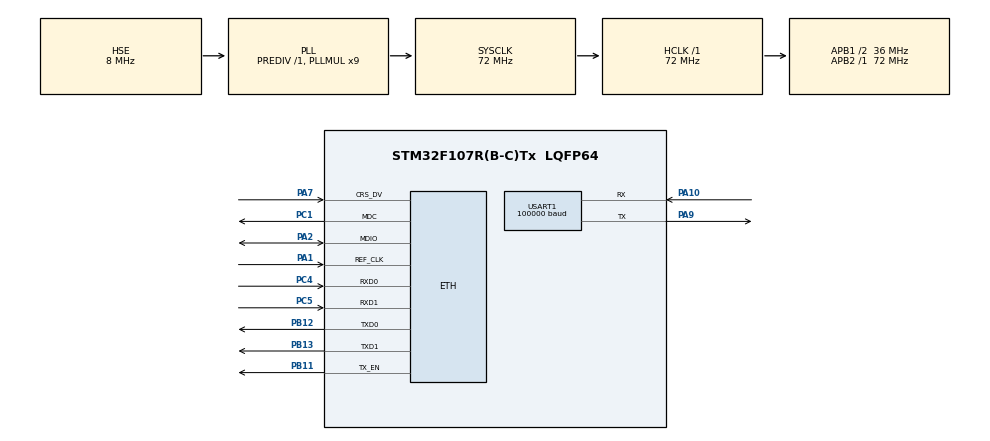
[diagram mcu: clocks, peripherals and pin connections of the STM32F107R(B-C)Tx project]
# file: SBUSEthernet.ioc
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Dma.Request0=USART1_TX
Dma.USART1_TX.0.Direction=DMA_MEMORY_TO_PERIPH
Dma.USART1_TX.0.Instance=DMA1_Channel4
Dma.USART1_TX.0.MemDataAlignment=DMA_MDATAALIGN_BYTE
Dma.USART1_TX.0.MemInc=DMA_MINC_ENABLE
Dma.USART1_TX.0.Mode=DMA_NORMAL
Dma.USART1_TX.0.PeriphDataAlignment=DMA_PDATAALIGN_BYTE
Dma.USART1_TX.0.PeriphInc=DMA_PINC_DISABLE
Dma.USART1_TX.0.Priority=DMA_PRIORITY_LOW
ETH.MediaInterface=ETH_MEDIA_INTERFACE_RMII
ETH.PhyAddress=1
LWIP.IP_ADDRESS=192.168.144.201
LWIP.LWIP_DHCP=0
LWIP.Version=v2.0.3_Cube
Mcu.Family=STM32F1
Mcu.Name=STM32F107R(B-C)Tx
Mcu.Package=LQFP64
NVIC.DMA1_Channel4_IRQn=true\:0\:0\:false\:false\:true\:false\:true\:true
NVIC.ETH_IRQn=true\:0\:0\:false\:false\:true\:true\:true\:true
NVIC.PriorityGroup=NVIC_PRIORITYGROUP_4
NVIC.USART1_IRQn=true\:0\:0\:false\:false\:true\:true\:true\:true
PA1.Mode=RMII
PA1.Signal=ETH_REF_CLK
PA10.Mode=Asynchronous
PA10.Signal=USART1_RX
PA13.Mode=Serial_Wire
PA13.Signal=SYS_JTMS-SWDIO
PA14.Mode=Serial_Wire
PA14.Signal=SYS_JTCK-SWCLK
PA2.Mode=RMII
PA2.Signal=ETH_MDIO
PA7.Mode=RMII
PA7.Signal=ETH_CRS_DV
PA9.Mode=Asynchronous
PA9.Signal=USART1_TX
PB11.Mode=RMII
PB11.Signal=ETH_TX_EN
PB12.Mode=RMII
PB12.Signal=ETH_TXD0
PB13.Mode=RMII
PB13.Signal=ETH_TXD1
PC1.Mode=RMII
PC1.Signal=ETH_MDC
PC4.Mode=RMII
PC4.Signal=ETH_RXD0
PC5.Mode=RMII
PC5.Signal=ETH_RXD1
PD0-OSC_IN.Mode=HSE-External-Oscillator
PD0-OSC_IN.Signal=RCC_OSC_IN
PD1-OSC_OUT.Mode=HSE-External-Oscillator
PD1-OSC_OUT.Signal=RCC_OSC_OUT
ProjectManager.HeapSize=0x200
ProjectManager.StackSize=0x400
ProjectManager.TargetToolchain=STM32CubeIDE
RCC.AHBFreq_Value=72000000
RCC.APB1CLKDivider=RCC_HCLK_DIV2
RCC.APB1Freq_Value=36000000
RCC.APB1TimFreq_Value=72000000
RCC.APB2Freq_Value=72000000
RCC.APB2TimFreq_Value=72000000
RCC.HCLKFreq_Value=72000000
RCC.PLLMUL=RCC_PLL_MUL9
RCC.PLLSourceVirtual=RCC_PLLSOURCE_HSE
RCC.SYSCLKFreq_VALUE=72000000
RCC.SYSCLKSource=RCC_SYSCLKSOURCE_PLLCLK
RCC.USBFreq_Value=48000000
USART1.BaudRate=100000
USART1.Parity=PARITY_EVEN
USART1.StopBits=STOPBITS_2
USART1.VirtualMode=VM_ASYNC
VP_IWDG_VS_IWDG.Mode=IWDG_Activate
VP_LWIP_VS_Enabled.Mode=Enabled
board=custom

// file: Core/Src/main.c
/* USER CODE BEGIN Header */
/**
  ******************************************************************************
  * @file           : main.c
  * @brief          : Main program body
  ******************************************************************************
  * @attention
  *
  * Copyright (c) 2025 STMicroelectronics.
  * All rights reserved.
  *
  * This software is licensed under terms that can be found in the LICENSE file
  * in the root directory of this software component.
  * If no LICENSE file comes with this software, it is provided AS-IS.
  *
  ******************************************************************************
  */
/* USER CODE END Header */
#include "main.h"
#include "lwip.h"

/* USER CODE BEGIN Includes */
#include "lwip/pbuf.h"
#include "lwip/udp.h"
#include "lwip/tcp.h"

#include "stdio.h"
/* USER CODE END Includes */

/* USER CODE BEGIN PD */
#define UART_INVERSION_NONE                0x00000000U
#define UART_INVERSION_RX                  0x00000100U
#define UART_INVERSION_TX                  0x00000200U
#define UART_INVERSION_RXTX                0x00000300U

/* Command IDs */
#define CMD_HEADER 0xFD
#define CMD_SET_IP_CONFIG 0x01
#define CMD_SET_UART_CONFIG 0x02
#define CMD_SAVE_CONFIG 0x03

/* Command IDs */
#define STATUS_OK 0x00
#define STATUS_INVALID_LENGTH 0x01
#define STATUS_UNKNOWN_COMMAND 0x02
#define STATUS_INVALID_CHECKSUM 0x03
/* USER CODE END PD */

IWDG_HandleTypeDef hiwdg;

UART_HandleTypeDef huart1;
DMA_HandleTypeDef hdma_usart1_tx;

void SystemClock_Config(void);
static void MX_GPIO_Init(void);
static void MX_DMA_Init(void);
static void MX_IWDG_Init(void);
static void MX_USART1_UART_Init(void);
/* USER CODE BEGIN PFP */
void udp_receive_callback(void *arg, struct udp_pcb *upcb, struct pbuf *p, const ip_addr_t *addr, u16_t port);
void prog_udp_receive_callback(void *arg, struct udp_pcb *upcb, struct pbuf *p, const ip_addr_t *addr, u16_t port);
static void send_response(struct udp_pcb *upcb, const ip_addr_t *addr, u16_t port, uint8_t cmd_id, uint8_t status);
static void load_config_from_flash(void);
/* USER CODE END PFP */

/* USER CODE BEGIN 0 */
struct udp_pcb *upcb;
struct udp_pcb *prog_upcb;

// USART to Ethernet buffer (circular buffer)
#define USART_TO_ETH_BUFF_SIZE 512
#define PROG_BUFF_SIZE 50
#define UDP_BATCH_SIZE 64  // Send UDP packet when this many bytes accumulated
#define UDP_TIMEOUT_MS 2   // Send after 2ms even if batch not full (adjust for your latency requirements)

// Configuration variables (loaded from flash on startup)
uint32_t UartBaudRate;
uint32_t UartWordLength;
uint32_t UartStopBits;
uint32_t UartParity;
uint32_t UartInversion;
uint8_t UartTXInversion;
uint8_t UartRXInversion;

uint8_t USART_to_Eth_BUFF[USART_TO_ETH_BUFF_SIZE];
uint8_t PROG_BUFF[PROG_BUFF_SIZE];

uint8_t USART_RX;
volatile uint16_t USART_to_Eth_BUFF_WRITE_index = 0;
volatile uint16_t USART_to_Eth_BUFF_READ_index = 0;
volatile uint32_t last_rx_time = 0;  // Timestamp of last received byte

volatile uint16_t PROG_BUFF_WRITE_index = 0;
volatile uint16_t PROG_BUFF_STATE = 0;

// Get number of bytes in buffer
uint16_t get_buffer_count(void) {
  uint16_t write_idx = USART_to_Eth_BUFF_WRITE_index;
  uint16_t read_idx = USART_to_Eth_BUFF_READ_index;

  if (write_idx >= read_idx) {
    return write_idx - read_idx;
  } else {
    return USART_TO_ETH_BUFF_SIZE - read_idx + write_idx;
  }
}

void HAL_UART_RxCpltCallback(UART_HandleTypeDef *huart)
{
  if(huart->Instance == USART1)
  {
    USART_to_Eth_BUFF[USART_to_Eth_BUFF_WRITE_index++] = USART_RX;
    if(USART_to_Eth_BUFF_WRITE_index >= USART_TO_ETH_BUFF_SIZE)
    {
      USART_to_Eth_BUFF_WRITE_index = 0;
    }

    // Update timestamp when new data arrives
    last_rx_time = HAL_GetTick();

    // Restart the interrupt-based reception for the next byte
    HAL_UART_Receive_IT(&huart1, &USART_RX, 1);
  }
}
/* USER CODE END 0 */

int main(void)
{

  /* USER CODE BEGIN 1 */
  // Load configuration from flash memory
  load_config_from_flash();

  if(UartBaudRate == 0xFFFFFFFF){
    //Uninitialized flash, set defaults
    UartBaudRate = 100000;
    UartWordLength = UART_WORDLENGTH_9B;
    UartStopBits = UART_STOPBITS_2;
    UartParity = UART_PARITY_EVEN;
    UartInversion = UART_INVERSION_RXTX;
    UartTXInversion = 1;
    UartRXInversion = 1;
    IP_ADDRESS[0] = 192;
    IP_ADDRESS[1] = 168;
    IP_ADDRESS[2] = 144;
    IP_ADDRESS[3] = 91;
    NETMASK_ADDRESS[0] = 255;
    NETMASK_ADDRESS[1] = 255;
    NETMASK_ADDRESS[2] = 255;
    NETMASK_ADDRESS[3] = 0;
    GATEWAY_ADDRESS[0] = 192;
    GATEWAY_ADDRESS[1] = 168;
    GATEWAY_ADDRESS[2] = 144;
    GATEWAY_ADDRESS[3] = 1;
    DEST_IP_ADDRESS[0] = 192;
    DEST_IP_ADDRESS[1] = 168;
    DEST_IP_ADDRESS[2] = 144;
    DEST_IP_ADDRESS[3] = 90;
    RX_PORT = 5007;
    TX_PORT = 5007;

    //Update flash with defaults
    handle_save_config_command();
  }

  /* USER CODE END 1 */

  /* MCU Configuration--------------------------------------------------------*/

  /* Reset of all peripherals, Initializes the Flash interface and the Systick. */
  HAL_Init();

  /* Configure the system clock */
  SystemClock_Config();

  /* Initialize all configured peripherals */
  MX_GPIO_Init();
  MX_DMA_Init();
  MX_USART1_UART_Init();
  MX_LWIP_Init();
  /* USER CODE BEGIN 2 */
  HAL_UART_Receive_IT(&huart1, &USART_RX, 1);
  UDP_SERVER_INIT();
  // MX_IWDG_Init();
  /* USER CODE END 2 */

  /* Infinite loop */
  while (1)
  {
    // HAL_IWDG_Refresh(&hiwdg);
    ethernetif_input(&gnetif);
    sys_check_timeouts();
    /* Poll PHY link state so netif link callbacks fire when cable is plugged/unplugged */
    ethernetif_set_link(&gnetif);

    // Send USART data to Ethernet in batches for efficiency
    uint16_t available_bytes = get_buffer_count();

    if (available_bytes > 0) {
      uint32_t current_time = HAL_GetTick();
      uint32_t time_since_rx = current_time - last_rx_time;

      // Send if: batch is full, buffer getting full, OR timeout expired
      if (available_bytes >= UDP_BATCH_SIZE ||
          available_bytes > (USART_TO_ETH_BUFF_SIZE / 2) ||
          time_since_rx >= UDP_TIMEOUT_MS) {

        // Determine how many bytes to send (up to UDP_BATCH_SIZE)
        uint16_t bytes_to_send = (available_bytes > UDP_BATCH_SIZE) ? UDP_BATCH_SIZE : available_bytes;

        // Allocate pbuf for the batch
        struct pbuf *p = pbuf_alloc(PBUF_TRANSPORT, bytes_to_send, PBUF_RAM);
        if (p != NULL) {
          uint8_t *payload = (uint8_t *)p->payload;

          // Copy bytes from circular buffer to pbuf
          for (uint16_t i = 0; i < bytes_to_send; i++) {
            payload[i] = USART_to_Eth_BUFF[USART_to_Eth_BUFF_READ_index++];
            if (USART_to_Eth_BUFF_READ_index >= USART_TO_ETH_BUFF_SIZE) {
              USART_to_Eth_BUFF_READ_index = 0;
            }
          }

          // Send UDP packet (upcb is already connected in UDP_SERVER_INIT)
          udp_sendto(upcb, p, &dest_ipaddr, TX_PORT);
          pbuf_free(p);
        }
      }
    }

  }
}

void SystemClock_Config(void)
{
  RCC_OscInitTypeDef RCC_OscInitStruct = {0};
  RCC_ClkInitTypeDef RCC_ClkInitStruct = {0};

  /** Initializes the RCC Oscillators according to the specified parameters
  * in the RCC_OscInitTypeDef structure.
  */
  RCC_OscInitStruct.OscillatorType = RCC_OSCILLATORTYPE_LSI|RCC_OSCILLATORTYPE_HSE;
  RCC_OscInitStruct.HSEState = RCC_HSE_ON;
  RCC_OscInitStruct.HSEPredivValue = RCC_HSE_PREDIV_DIV1;
  RCC_OscInitStruct.HSIState = RCC_HSI_ON;
  RCC_OscInitStruct.LSIState = RCC_LSI_ON;
  RCC_OscInitStruct.Prediv1Source = RCC_PREDIV1_SOURCE_HSE;
  RCC_OscInitStruct.PLL.PLLState = RCC_PLL_ON;
  RCC_OscInitStruct.PLL.PLLSource = RCC_PLLSOURCE_HSE;
  RCC_OscInitStruct.PLL.PLLMUL = RCC_PLL_MUL9;
  RCC_OscInitStruct.PLL2.PLL2State = RCC_PLL_NONE;
  if (HAL_RCC_OscConfig(&RCC_OscInitStruct) != HAL_OK)
  {
    Error_Handler();
  }

  /** Initializes the CPU, AHB and APB buses clocks
  */
  RCC_ClkInitStruct.ClockType = RCC_CLOCKTYPE_HCLK|RCC_CLOCKTYPE_SYSCLK
                              |RCC_CLOCKTYPE_PCLK1|RCC_CLOCKTYPE_PCLK2;
  RCC_ClkInitStruct.SYSCLKSource = RCC_SYSCLKSOURCE_PLLCLK;
  RCC_ClkInitStruct.AHBCLKDivider = RCC_SYSCLK_DIV1;
  RCC_ClkInitStruct.APB1CLKDivider = RCC_HCLK_DIV2;
  RCC_ClkInitStruct.APB2CLKDivider = RCC_HCLK_DIV1;

  if (HAL_RCC_ClockConfig(&RCC_ClkInitStruct, FLASH_LATENCY_2) != HAL_OK)
  {
    Error_Handler();
  }

  /** Configure the Systick interrupt time
  */
  __HAL_RCC_PLLI2S_ENABLE();
}

static void MX_IWDG_Init(void)
{

  hiwdg.Instance = IWDG;
  hiwdg.Init.Prescaler = IWDG_PRESCALER_4;
  hiwdg.Init.Reload = 799;
  if (HAL_IWDG_Init(&hiwdg) != HAL_OK)
  {
    Error_Handler();
  }

}

static void MX_USART1_UART_Init(void)
{

  huart1.Instance = USART1;
  huart1.Init.BaudRate = UartBaudRate;
  huart1.Init.WordLength = UartWordLength;
  huart1.Init.StopBits = UartStopBits;
  huart1.Init.Parity = UartParity;
  huart1.Init.Mode = UART_MODE_TX_RX;
  huart1.Init.HwFlowCtl = UART_HWCONTROL_NONE;
  huart1.Init.OverSampling = UART_OVERSAMPLING_16;
  if (HAL_UART_Init(&huart1) != HAL_OK)
  {
    Error_Handler();
  }

}

static void MX_DMA_Init(void)
{

  /* DMA controller clock enable */
  __HAL_RCC_DMA1_CLK_ENABLE();

  /* DMA interrupt init */
  /* DMA1_Channel4_IRQn interrupt configuration */
  HAL_NVIC_SetPriority(DMA1_Channel4_IRQn, 0, 0);
  HAL_NVIC_EnableIRQ(DMA1_Channel4_IRQn);

}

static void MX_GPIO_Init(void)
{

  /* GPIO Ports Clock Enable */
  __HAL_RCC_GPIOD_CLK_ENABLE();
  __HAL_RCC_GPIOC_CLK_ENABLE();
  __HAL_RCC_GPIOA_CLK_ENABLE();
  __HAL_RCC_GPIOB_CLK_ENABLE();

  /* USER CODE BEGIN MX_GPIO_Init_2 */
  //Initialize GPIOC Pin 11 as Output for TX buffer enable
  GPIO_InitTypeDef GPIO_InitStruct = {0};
  GPIO_InitStruct.Pin = GPIO_PIN_11;
  GPIO_InitStruct.Mode = GPIO_MODE_OUTPUT_PP;
  GPIO_InitStruct.Pull = GPIO_NOPULL;
  GPIO_InitStruct.Speed = GPIO_SPEED_FREQ_LOW;
  HAL_GPIO_Init(GPIOC, &GPIO_InitStruct);

  /* USER CODE END MX_GPIO_Init_2 */
}

/* USER CODE BEGIN 4 */
static void load_config_from_flash(void)
{
  // Read UART configuration from flash
  UartBaudRate = *(volatile uint32_t *)(UARTBAUDRATE_ADDRESS);
  UartWordLength = *(volatile uint32_t *)(UARTWORDLENGTH_ADDRESS);
  UartStopBits = *(volatile uint32_t *)(UARTSTOPBITS_ADDRESS);
  UartParity = *(volatile uint32_t *)(UARTPARITY_ADDRESS);
  UartInversion = *(volatile uint32_t *)(UARTINVERSION_ADDRESS);

  // Read IP addresses from flash (stored as 32-bit words)
  uint32_t ip_word = *(volatile uint32_t *)(IP_ADDRESS_ADDRESS);
  IP_ADDRESS[0] = ip_word & 0xFF;
  IP_ADDRESS[1] = (ip_word >> 8) & 0xFF;
  IP_ADDRESS[2] = (ip_word >> 16) & 0xFF;
  IP_ADDRESS[3] = (ip_word >> 24) & 0xFF;

  uint32_t netmask_word = *(volatile uint32_t *)(NETMASK_ADDRESS_ADDRESS);
  NETMASK_ADDRESS[0] = netmask_word & 0xFF;
  NETMASK_ADDRESS[1] = (netmask_word >> 8) & 0xFF;
  NETMASK_ADDRESS[2] = (netmask_word >> 16) & 0xFF;
  NETMASK_ADDRESS[3] = (netmask_word >> 24) & 0xFF;

  uint32_t gateway_word = *(volatile uint32_t *)(GATEWAY_ADDRESS_ADDRESS);
  GATEWAY_ADDRESS[0] = gateway_word & 0xFF;
  GATEWAY_ADDRESS[1] = (gateway_word >> 8) & 0xFF;
  GATEWAY_ADDRESS[2] = (gateway_word >> 16) & 0xFF;
  GATEWAY_ADDRESS[3] = (gateway_word >> 24) & 0xFF;

  uint32_t dest_ip_word = *(volatile uint32_t *)(DEST_IP_ADDRESS_ADDRESS);
  DEST_IP_ADDRESS[0] = dest_ip_word & 0xFF;
  DEST_IP_ADDRESS[1] = (dest_ip_word >> 8) & 0xFF;
  DEST_IP_ADDRESS[2] = (dest_ip_word >> 16) & 0xFF;
  DEST_IP_ADDRESS[3] = (dest_ip_word >> 24) & 0xFF;

  if(UartInversion == UART_INVERSION_NONE){
    UartTXInversion = 0;
    UartRXInversion = 0;
  }
  else if(UartInversion == UART_INVERSION_RX){
    UartTXInversion = 0;
    UartRXInversion = 1;
  }
  else if(UartInversion == UART_INVERSION_TX){
    UartTXInversion = 1;
    UartRXInversion = 0;
  }
  else if(UartInversion == UART_INVERSION_RXTX){
    UartTXInversion = 1;
    UartRXInversion = 1;
  }

  // Read ports from flash (both stored in one 32-bit word)
  uint32_t ports_word = *(volatile uint32_t *)(RX_PORT_ADDRESS);
  RX_PORT = ports_word & 0xFFFF;
  TX_PORT = (ports_word >> 16) & 0xFFFF;
}

void UDP_SERVER_INIT(void){
  err_t err;

  /* Create a new UDP control block  */
  upcb = udp_new();

  // Bind to IP_ADDR_ANY to accept packets on any interface
  err = udp_bind(upcb, IP_ADDR_ANY, RX_PORT); // Bind to port
  if (err == ERR_OK) {
    // Set a receive callback function
    udp_recv(upcb, udp_receive_callback, NULL);
  }
  else{
    udp_remove(upcb);
  }

  prog_upcb = udp_new();
  // Bind to IP_ADDR_ANY to accept packets on any interface
  err = udp_bind(prog_upcb, IP_ADDR_ANY, PROG_PORT); // Bind to port
  if (err == ERR_OK) {
    // Set a receive callback function
    udp_recv(prog_upcb, prog_udp_receive_callback, NULL);
  }
  else{
    udp_remove(prog_upcb);
  }
}

void udp_receive_callback(void *arg, struct udp_pcb *upcb, struct pbuf *p,
                          const ip_addr_t *addr, u16_t port)
{
  if (p != NULL) {
    // Send the received data to USART1 using DMA (non-blocking)
    // This prevents blocking the LwIP stack processing
    HAL_UART_Transmit_DMA(&huart1, (uint8_t *)p->payload, p->len);

    // Free the pbuf after processing
    pbuf_free(p);
  }
}

static uint8_t calculate_checksum(uint8_t *data, uint16_t len)
{
  uint8_t checksum = 0;
  for (uint16_t i = 0; i < len; i++) {
    checksum ^= data[i];
  }
  return checksum;
}

static void handle_ip_config_command(uint8_t *payload, uint16_t payload_len)
{
  if (payload_len != 20) {
    return;  // Invalid payload length
  }

  // Extract IP configuration
  // Offset 0-3: Local IP
  memcpy(IP_ADDRESS, payload, 4);

  // Offset 4-7: Netmask
  memcpy(NETMASK_ADDRESS, payload + 4, 4);

  // Offset 8-11: Gateway
  memcpy(GATEWAY_ADDRESS, payload + 8, 4);

  // Offset 12-15: Destination IP
  memcpy(DEST_IP_ADDRESS, payload + 12, 4);

  // Offset 16-17: Local Port (RX_PORT) - little-endian
  RX_PORT = (uint16_t)(payload[16] | (payload[17] << 8));

  // Offset 18-19: Target Port (TX_PORT) - little-endian
  TX_PORT = (uint16_t)(payload[18] | (payload[19] << 8));

  //Reinitilize UDP PCB with new IP and ports
  udp_remove(upcb);
  udp_remove(prog_upcb);

  // Deinitialize network interface properly
  netif_set_down(&gnetif);
  netif_remove(&gnetif);

  MX_LWIP_Init();
  UDP_SERVER_INIT();
}

static void handle_uart_config_command(uint8_t *payload, uint16_t payload_len)
{
  if (payload_len != 20) {
    return;  // Invalid payload length
  }

  // Extract UART configuration (all little-endian uint32)
  // Offset 0-3: Baud Rate
  UartBaudRate = (uint32_t)(payload[0] | (payload[1] << 8) |
                            (payload[2] << 16) | (payload[3] << 24));

  // Offset 4-7: Word Length
  UartWordLength = (uint32_t)(payload[4] | (payload[5] << 8) |
                              (payload[6] << 16) | (payload[7] << 24));

  // Offset 8-11: Stop Bits
  UartStopBits = (uint32_t)(payload[8] | (payload[9] << 8) |
                            (payload[10] << 16) | (payload[11] << 24));

  // Offset 12-15: Parity
  UartParity = (uint32_t)(payload[12] | (payload[13] << 8) |
                          (payload[14] << 16) | (payload[15] << 24));

    // Offset 16-19: Inversion
  UartInversion = (uint32_t)(payload[16] | (payload[17] << 8) |
                             (payload[18] << 16) | (payload[19] << 24));

  // Reconfigure UART with new settings
  HAL_UART_DeInit(&huart1);

  // Update UART handle with new parameters
  huart1.Init.BaudRate = UartBaudRate;
  huart1.Init.WordLength = UartWordLength;
  huart1.Init.StopBits = UartStopBits;
  huart1.Init.Parity = UartParity;
  //Inversion handling
  if(UartInversion == UART_INVERSION_NONE){
      UartTXInversion = 0;
      UartRXInversion = 0;
  }
  else if(UartInversion == UART_INVERSION_RX){
      UartTXInversion = 0;
      UartRXInversion = 1;
  }
  else if(UartInversion == UART_INVERSION_TX){
      UartTXInversion = 1;
      UartRXInversion = 0;
  }
  else if(UartInversion == UART_INVERSION_RXTX){
      UartTXInversion = 1;
      UartRXInversion = 1;
  }

  // Reinitialize UART
  if (HAL_UART_Init(&huart1) == HAL_OK) {
    // Restart UART receive interrupt
    extern uint8_t USART_RX;
    HAL_UART_Receive_IT(&huart1, &USART_RX, 1);
  }

  // TODO: Save to flash if persistence is needed
}

static void handle_save_config_command(void)
{
  // Save all current configurations to flash memory
  HAL_StatusTypeDef status;

  // Unlock the Flash to enable the flash control register access
  HAL_FLASH_Unlock();

  // Erase the flash page where config is stored
  // STM32F107 has 2KB pages, calculate page number
  FLASH_EraseInitTypeDef EraseInitStruct;
  uint32_t PageError = 0;

  EraseInitStruct.TypeErase = FLASH_TYPEERASE_PAGES;
  EraseInitStruct.PageAddress = SAVED_CONFIG_ADDRESS;
  EraseInitStruct.NbPages = 1;  // Erase 1 page (2KB)

  status = HAL_FLASHEx_Erase(&EraseInitStruct, &PageError);

  if (status == HAL_OK) {
    // Write UART configuration (5 uint32_t values)
    HAL_FLASH_Program(FLASH_TYPEPROGRAM_WORD, UARTBAUDRATE_ADDRESS, UartBaudRate);
    HAL_FLASH_Program(FLASH_TYPEPROGRAM_WORD, UARTWORDLENGTH_ADDRESS, UartWordLength);
    HAL_FLASH_Program(FLASH_TYPEPROGRAM_WORD, UARTSTOPBITS_ADDRESS, UartStopBits);
    HAL_FLASH_Program(FLASH_TYPEPROGRAM_WORD, UARTPARITY_ADDRESS, UartParity);
    HAL_FLASH_Program(FLASH_TYPEPROGRAM_WORD, UARTINVERSION_ADDRESS, UartInversion);

    // Write IP addresses (4 bytes each, combine into 32-bit words)
    uint32_t ip_word = (IP_ADDRESS[3] << 24) | (IP_ADDRESS[2] << 16) |
                       (IP_ADDRESS[1] << 8) | IP_ADDRESS[0];
    HAL_FLASH_Program(FLASH_TYPEPROGRAM_WORD, IP_ADDRESS_ADDRESS, ip_word);

    uint32_t netmask_word = (NETMASK_ADDRESS[3] << 24) | (NETMASK_ADDRESS[2] << 16) |
                            (NETMASK_ADDRESS[1] << 8) | NETMASK_ADDRESS[0];
    HAL_FLASH_Program(FLASH_TYPEPROGRAM_WORD, NETMASK_ADDRESS_ADDRESS, netmask_word);

    uint32_t gateway_word = (GATEWAY_ADDRESS[3] << 24) | (GATEWAY_ADDRESS[2] << 16) |
                            (GATEWAY_ADDRESS[1] << 8) | GATEWAY_ADDRESS[0];
    HAL_FLASH_Program(FLASH_TYPEPROGRAM_WORD, GATEWAY_ADDRESS_ADDRESS, gateway_word);

    uint32_t dest_ip_word = (DEST_IP_ADDRESS[3] << 24) | (DEST_IP_ADDRESS[2] << 16) |
                            (DEST_IP_ADDRESS[1] << 8) | DEST_IP_ADDRESS[0];
    HAL_FLASH_Program(FLASH_TYPEPROGRAM_WORD, DEST_IP_ADDRESS_ADDRESS, dest_ip_word);

    // Write ports (combine both 16-bit ports into one 32-bit word)
    uint32_t ports_word = (TX_PORT << 16) | RX_PORT;
    HAL_FLASH_Program(FLASH_TYPEPROGRAM_WORD, RX_PORT_ADDRESS, ports_word);
  }

  // Lock the Flash to disable the flash control register access
  HAL_FLASH_Lock();
}

static void send_response(struct udp_pcb *upcb, const ip_addr_t *addr, u16_t port,
                         uint8_t cmd_id, uint8_t status)
{
  uint8_t response[5];
  response[0] = CMD_HEADER;
  response[1] = cmd_id | 0x80;  // Set MSB to indicate response
  response[2] = status;
  response[3] = calculate_checksum(response, 3);

  struct pbuf *p = pbuf_alloc(PBUF_TRANSPORT, 4, PBUF_RAM);
  if (p != NULL) {
    memcpy(p->payload, response, 4);
    udp_sendto(upcb, p, addr, port);
    pbuf_free(p);
  }
}

void prog_udp_receive_callback(void *arg, struct udp_pcb *upcb, struct pbuf *p,
                          const ip_addr_t *addr, u16_t port)
{
  if (p != NULL && p->len >= 3) {  // Minimum: Header + CMD + Checksum
    uint8_t *data = (uint8_t *)p->payload;
    uint16_t len = p->len;

    // Verify header
    if (data[0] == CMD_HEADER) {
      // Calculate and verify checksum
      uint8_t calculated_checksum = calculate_checksum(data, len - 1);
      uint8_t received_checksum = data[len - 1];

      if (calculated_checksum == received_checksum) {
        uint8_t cmd_id = data[1];
        uint8_t *payload = &data[2];
        uint16_t payload_len = len - 3;  // Exclude header, cmd_id, checksum

        // Process command
        switch (cmd_id) {
          case CMD_SET_IP_CONFIG:
            if (payload_len == 20) {
              handle_ip_config_command(payload, payload_len);
              send_response(upcb, addr, port, cmd_id, STATUS_OK);
            } else {
              send_response(upcb, addr, port, cmd_id, STATUS_INVALID_LENGTH);
            }
            break;

          case CMD_SET_UART_CONFIG:
            if (payload_len == 20) {
              handle_uart_config_command(payload, payload_len);
              send_response(upcb, addr, port, cmd_id, STATUS_OK);
            } else {
              send_response(upcb, addr, port, cmd_id, STATUS_INVALID_LENGTH);
            }
            break;

          case CMD_SAVE_CONFIG:
            handle_save_config_command();
            send_response(upcb, addr, port, cmd_id, STATUS_OK);
            break;

          default:
            send_response(upcb, addr, port, cmd_id, STATUS_UNKNOWN_COMMAND);
            break;
        }
      } else {
        // Checksum mismatch
        send_response(upcb, addr, port, data[1], STATUS_INVALID_CHECKSUM);
      }
    }

    // Free the packet buffer
    pbuf_free(p);
  } else if (p != NULL) {
    // Packet too short
    pbuf_free(p);
  }
}

/* USER CODE END 4 */

void Error_Handler(void)
{
  __disable_irq();
  while (1)
  {
  }
}
